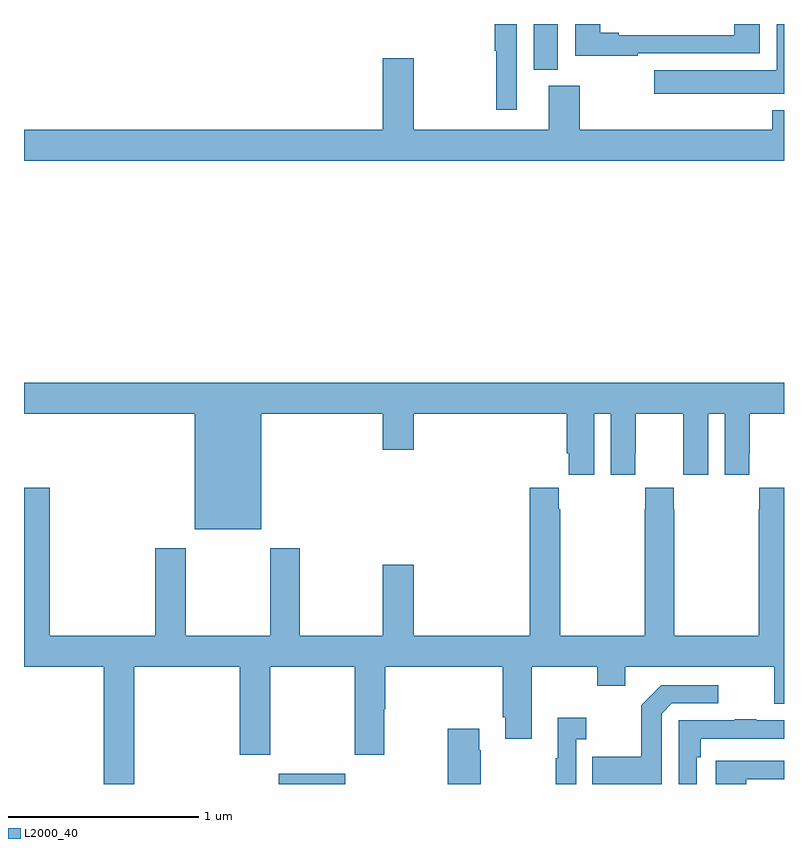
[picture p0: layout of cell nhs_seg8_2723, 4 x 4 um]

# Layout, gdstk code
import gdstk
lib = gdstk.Library(unit=1e-6, precision=1e-09)
def R(c, l, rs):  # rectangles x0, y0, x1, y1
    for r in rs: c.add(gdstk.rectangle(r[:2], r[2:], *l))
def P(c, l, *ps):  # polygons
    for p in ps: c.add(gdstk.Polygon(p, *l))
L2000_40 = (2000, 40)

nhs_seg8_2723 = lib.new_cell('nhs_seg8_2723')
R(nhs_seg8_2723, L2000_40, [(284.342,1099.9,284.692,1099.954), (285.683,1103.659,285.808,1103.9)])
P(nhs_seg8_2723, L2000_40, [(285.594,1103.9),(285.478,1103.9),(285.478,1103.76),(285.486,1103.76),(285.486,1103.448),(285.594,1103.448)],
  [(286.229,1103.745),(286.873,1103.745),(286.873,1103.9),(286.739,1103.9),(286.739,1103.841),(286.129,1103.841),(286.129,1103.854),(286.033,1103.854),(286.033,1103.9),(285.902,1103.9),(285.902,1103.733),(286.229,1103.733)],
  [(287,1103.9),(286.962,1103.9),(286.962,1103.656),(286.317,1103.656),(286.317,1103.534),(287,1103.534)],
  [(287,1103.446),(286.937,1103.446),(286.937,1103.344),(285.925,1103.344),(285.925,1103.574),(285.761,1103.574),(285.761,1103.344),(285.052,1103.344),(285.052,1103.719),(284.888,1103.719),(284.888,1103.344),(283,1103.344),(283,1103.18),(287,1103.18)],
  [(284.248,1101.848),(284.888,1101.848),(284.888,1101.66),(285.052,1101.66),(285.052,1101.848),(285.857,1101.848),(285.857,1101.64),(285.866,1101.64),(285.866,1101.528),(286,1101.528),(286,1101.848),(286.088,1101.848),(286.088,1101.528),(286.218,1101.528),(286.218,1101.64),(286.219,1101.64),(286.219,1101.848),(286.469,1101.848),(286.469,1101.64),(286.47,1101.64),(286.47,1101.528),(286.6,1101.528),(286.6,1101.848),(286.688,1101.848),(286.688,1101.528),(286.818,1101.528),(286.818,1101.64),(286.819,1101.64),(286.819,1101.848),(287,1101.848),(287,1102.012),(283,1102.012),(283,1101.848),(283.898,1101.848),(283.898,1101.242),(284.248,1101.242)],
  [(285.662,1100.68),(285.052,1100.68),(285.052,1101.055),(284.888,1101.055),(284.888,1100.68),(284.451,1100.68),(284.451,1101.142),(284.296,1101.142),(284.296,1100.68),(283.851,1100.68),(283.851,1101.142),(283.691,1101.142),(283.691,1100.68),(283.136,1100.68),(283.136,1101.46),(283,1101.46),(283,1100.516),(283.42,1100.516),(283.42,1099.9),(283.58,1099.9),(283.58,1100.516),(284.135,1100.516),(284.135,1100.055),(284.295,1100.055),(284.295,1100.516),(284.74,1100.516),(284.74,1100.055),(284.895,1100.055),(284.895,1100.294),(284.9,1100.294),(284.9,1100.516),(285.521,1100.516),(285.521,1100.251),(285.533,1100.251),(285.533,1100.139),(285.673,1100.139),(285.673,1100.516),(286.018,1100.516),(286.018,1100.417),(286.165,1100.417),(286.165,1100.516),(286.949,1100.516),(286.949,1100.322),(287,1100.322),(287,1101.46),(286.869,1101.46),(286.869,1101.347),(286.867,1101.347),(286.867,1100.68),(286.422,1100.68),(286.422,1101.347),(286.419,1101.347),(286.419,1101.46),(286.269,1101.46),(286.269,1101.347),(286.267,1101.347),(286.267,1100.68),(285.822,1100.68),(285.822,1101.347),(285.815,1101.347),(285.815,1101.46),(285.662,1101.46)],
  [(286.356,1100.271),(286.41,1100.325),(286.654,1100.325),(286.654,1100.421),(286.353,1100.421),(286.248,1100.315),(286.248,1100.043),(285.991,1100.043),(285.991,1099.9),(286.356,1099.9)],
  [(285.906,1100.135),(285.958,1100.135),(285.958,1100.248),(285.809,1100.248),(285.809,1100.035),(285.798,1100.035),(285.798,1099.9),(285.906,1099.9)],
  [(286.542,1100.042),(286.562,1100.042),(286.562,1100.139),(287,1100.139),(287,1100.235),(286.853,1100.235),(286.853,1100.24),(286.741,1100.24),(286.741,1100.235),(286.446,1100.235),(286.446,1099.9),(286.542,1099.9)],
  [(285.405,1100.078),(285.397,1100.078),(285.397,1100.191),(285.23,1100.191),(285.23,1099.9),(285.405,1099.9)],
  [(286.802,1099.926),(287,1099.926),(287,1100.022),(286.641,1100.022),(286.641,1099.9),(286.802,1099.9)])

lib.write_gds('nhs_seg8_2723.gds')
